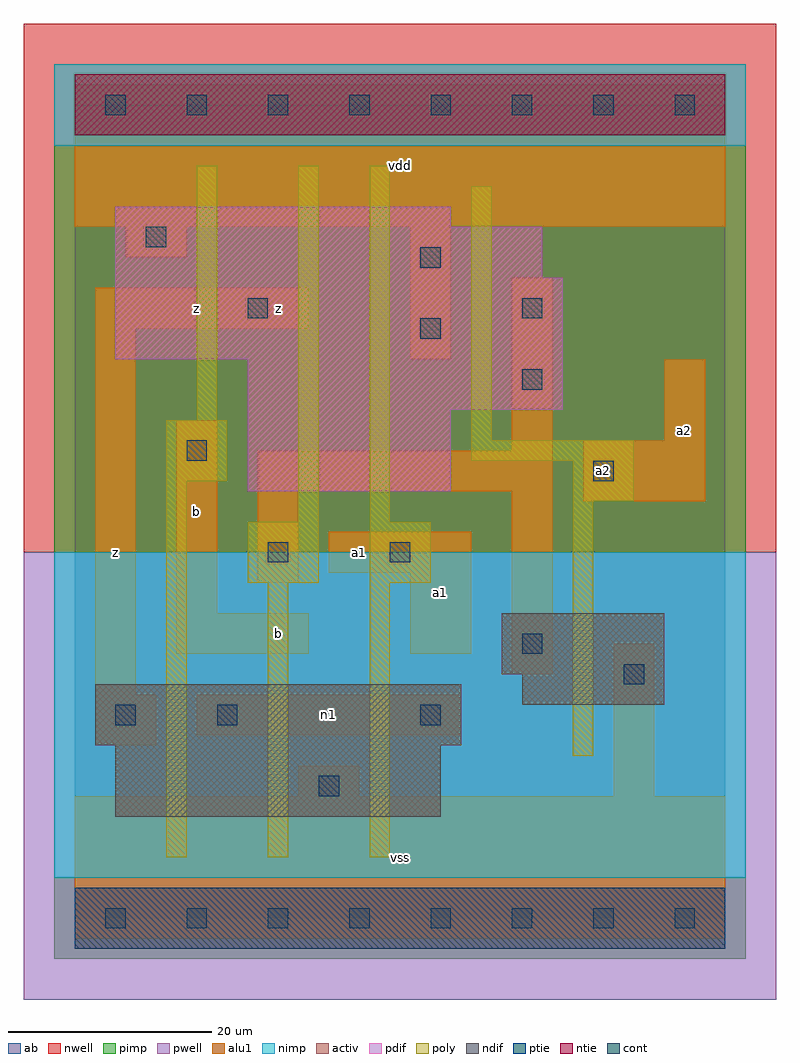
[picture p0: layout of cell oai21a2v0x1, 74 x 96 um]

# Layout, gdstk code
import gdstk
lib = gdstk.Library(unit=1e-6, precision=1e-09)
def R(c, l, rs):  # rectangles x0, y0, x1, y1
    for r in rs: c.add(gdstk.rectangle(r[:2], r[2:], *l))
def A(c, l, x, y, w, h, nx, ny, dx, dy):  # array of equal rectangles
    R(c, l, [(x+i*dx, y+j*dy, x+i*dx+w, y+j*dy+h) for i in range(nx) for j in range(ny)])
ndif = (3, 0)
pdif = (4, 0)
ntie = (5, 0)
ptie = (6, 0)
cont = (25, 0)
pwell = (41, 0)
nwell = (42, 0)
activ = (43, 0)
pimp = (44, 0)
nimp = (45, 0)
poly = (46, 0)
alu1 = (49, 0)
ab = (63, 0)

oai21a2v0x1 = lib.new_cell('oai21a2v0x1')
R(oai21a2v0x1, ndif, [(4,10,36,17), (2,17,38,23), (44,21,58,24), (42,24,58,30)])
R(oai21a2v0x1, pdif, [(17,42,37,50), (17,50,48,55), (4,55,48,63), (4,63,46,68), (4,68,37,70)])
R(oai21a2v0x1, ntie, [(0,77,64,83)])
R(oai21a2v0x1, ptie, [(0,-3,64,3)])
A(oai21a2v0x1, cont, 3, -1, 2, 2, 8, 2, 8, 80)
R(oai21a2v0x1, cont, [(24,12,26,14), (4,19,6,21), (14,19,16,21), (34,19,36,21), (54,23,56,25), (44,26,46,28), (19,35,21,37), (31,35,33,37), (51,43,53,45), (11,45,13,47), (44,52,46,54), (34,57,36,59), (17,59,19,61), (44,59,46,61), (34,64,36,66), (7,66,9,68)])
R(oai21a2v0x1, pwell, [(-5,-8,69,36)])
R(oai21a2v0x1, nwell, [(-5,36,69,88)])
R(oai21a2v0x1, activ, [(0,-3,64,3), (4,10,36,17), (2,17,38,23), (44,21,58,24), (42,24,58,30), (17,42,37,50), (17,50,48,55), (4,55,48,63), (4,63,46,68), (4,68,37,70), (0,77,64,83)])
R(oai21a2v0x1, pimp, [(-2,-4,66,4), (-2,36,66,76)])
R(oai21a2v0x1, nimp, [(-2,4,66,36), (-2,76,66,84)])
R(oai21a2v0x1, poly, [(9,6,11,43), (19,6,21,33), (29,6,31,33), (49,16,51,41), (17,33,24,39), (29,33,35,39), (22,39,24,74), (29,39,31,74), (49,41,55,45), (9,43,15,49), (39,45,55,47), (39,47,41,72), (12,49,14,74)])
R(oai21a2v0x1, alu1, [(0,-2,64,12), (22,12,28,15), (53,12,57,27), (2,17,8,22), (12,18,38,22), (2,22,6,58), (43,24,47,42), (10,26,23,30), (33,26,39,34), (10,30,14,49), (18,33,22,42), (25,34,39,38), (50,41,62,47), (18,42,47,46), (43,46,47,63), (58,47,62,55), (33,55,37,68), (2,58,23,62), (5,65,11,68), (0,68,64,82)])
R(oai21a2v0x1, ab, [(0,0,64,80)])
oai21a2v0x1.add(gdstk.Label('n1', (25,20), layer=49, texttype=0))
oai21a2v0x1.add(gdstk.Label('z', (4,36), layer=49, texttype=0))
oai21a2v0x1.add(gdstk.Label('b', (12,40), layer=49, texttype=0))
oai21a2v0x1.add(gdstk.Label('z', (12,60), layer=49, texttype=0))
oai21a2v0x1.add(gdstk.Label('b', (20,28), layer=49, texttype=0))
oai21a2v0x1.add(gdstk.Label('a1', (28,36), layer=49, texttype=0))
oai21a2v0x1.add(gdstk.Label('z', (20,60), layer=49, texttype=0))
oai21a2v0x1.add(gdstk.Label('vss', (32,6), layer=49, texttype=0))
oai21a2v0x1.add(gdstk.Label('a1', (36,32), layer=49, texttype=0))
oai21a2v0x1.add(gdstk.Label('vdd', (32,74), layer=49, texttype=0))
oai21a2v0x1.add(gdstk.Label('a2', (52,44), layer=49, texttype=0))
oai21a2v0x1.add(gdstk.Label('a2', (60,48), layer=49, texttype=0))

lib.write_gds('oai21a2v0x1.gds')
